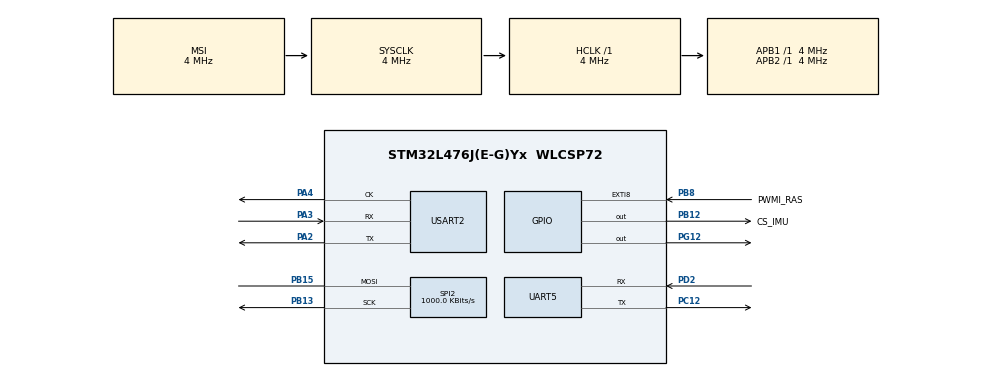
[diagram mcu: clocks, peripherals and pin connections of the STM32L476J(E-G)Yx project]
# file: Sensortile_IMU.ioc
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Mcu.Family=STM32L4
Mcu.Name=STM32L476J(E-G)Yx
Mcu.Package=WLCSP72
NVIC.EXTI9_5_IRQn=true\:0\:0\:false\:false\:true\:true\:true
NVIC.PriorityGroup=NVIC_PRIORITYGROUP_4
NVIC.UART5_IRQn=true\:0\:0\:true\:false\:true\:true\:true
PA2.Mode=Synchronous
PA2.Signal=USART2_TX
PA3.Mode=Synchronous
PA3.Signal=USART2_RX
PA4.Mode=Synchronous
PA4.Signal=USART2_CK
PB12.GPIO_Label=CS_IMU
PB12.GPIO_PuPd=GPIO_PULLDOWN
PB12.Signal=GPIO_Output
PB13.Mode=Simplex_Bidirectional_Master
PB13.Signal=SPI2_SCK
PB15.GPIO_PuPd=GPIO_NOPULL
PB15.Mode=Simplex_Bidirectional_Master
PB15.Signal=SPI2_MOSI
PB8.GPIO_Label=PWMI_RAS
PB8.GPIO_ModeDefaultEXTI=GPIO_MODE_IT_RISING
PB8.Signal=GPXTI8
PC12.Mode=Asynchronous
PC12.Signal=UART5_TX
PD2.Mode=Asynchronous
PD2.Signal=UART5_RX
PG12.Signal=GPIO_Output
ProjectManager.HeapSize=0x200
ProjectManager.StackSize=0x400
ProjectManager.TargetToolchain=STM32CubeIDE
RCC.AHBFreq_Value=4000000
RCC.APB1Freq_Value=4000000
RCC.APB1TimFreq_Value=4000000
RCC.APB2Freq_Value=4000000
RCC.APB2TimFreq_Value=4000000
RCC.CortexFreq_Value=4000000
RCC.HCLKFreq_Value=4000000
RCC.HSE_VALUE=8000000
RCC.HSI_VALUE=16000000
RCC.LSE_VALUE=32768
RCC.MSI_VALUE=4000000
RCC.SYSCLKFreq_VALUE=4000000
RCC.VCOOutputFreq_Value=32000000
SPI2.BaudRatePrescaler=SPI_BAUDRATEPRESCALER_4
SPI2.CLKPhase=SPI_PHASE_2EDGE
SPI2.CLKPolarity=SPI_POLARITY_HIGH
SPI2.CalculateBaudRate=1000.0 KBits/s
SPI2.DataSize=SPI_DATASIZE_8BIT
SPI2.Direction=SPI_DIRECTION_1LINE
SPI2.Mode=SPI_MODE_MASTER
SPI2.VirtualType=VM_MASTER
UART5.MSBFirstParam=UART_ADVFEATURE_MSBFIRST_DISABLE
USART2.VirtualMode-Synchronous=VM_SYNC
board=custom

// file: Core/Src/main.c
/* USER CODE BEGIN Header */
/**
  ******************************************************************************
  * @file           : main.c
  * @brief          : Main program body
  ******************************************************************************
  * @attention
  *
  * <h2><center>&copy; Copyright (c) 2021 STMicroelectronics.
  * All rights reserved.</center></h2>
  *
  * This software component is licensed by ST under BSD 3-Clause license,
  * the "License"; You may not use this file except in compliance with the
  * License. You may obtain a copy of the License at:
  *                        opensource.org/licenses/BSD-3-Clause
  *
  ******************************************************************************
  */
/* USER CODE END Header */
#include "main.h"

/* USER CODE BEGIN Includes */
#include <stdio.h>
/* USER CODE END Includes */

SPI_HandleTypeDef hspi2;

UART_HandleTypeDef huart5;
USART_HandleTypeDef husart2;

/* USER CODE BEGIN PV */

uint32_t Timeout=10000;
SPI_HandleTypeDef hspi2;
HAL_StatusTypeDef uart;
HAL_StatusTypeDef status_spi;
uint32_t TIMEOUT_DURATION=5000;
uint8_t flag=1;
uint8_t rxBuffer[7]={0};
uint8_t aTxBuffer[]="hello\r\n";
uint16_t i=0;
uint8_t SPI_ready=1;
int16_t accel_data_x[4096]={0};
int16_t accel_data_y[4096]={0};
int16_t accel_data_z[4096]={0};
uint32_t time[4096]={0};
static int16_t data_raw_acceleration[3];
float acc_x;
float acc_y;
float acc_z;
/* USER CODE END PV */

void SystemClock_Config(void);
static void MX_GPIO_Init(void);
static void MX_SPI2_Init(void);
static void MX_UART5_Init(void);
static void MX_USART2_Init(void);
/* USER CODE BEGIN PFP */
void lsm6dsm_init(void);
float lsm6dsm_from_fs2g_to_mg(int16_t lsb);
float lsm6dsm_from_fs4g_to_mg(int16_t lsb);
float lsm6dsm_from_fs8g_to_mg(int16_t lsb);
float lsm6dsm_from_fs16g_to_mg(int16_t lsb);
float lsm6dsm_from_fs500dps_to_mdps(int16_t lsb);
uint16_t lsm6dsm_read_accel(int16_t* accel_x,int16_t* accel_y,int16_t* accel_z);
int32_t lsm6dsm_acceleration_raw_get(int16_t *val);
static int32_t lsm6ds3_read(void *handle, uint8_t reg, uint8_t *bufp,uint16_t len);
static int32_t lsm6ds3_write(void *handle, uint8_t reg,uint8_t *bufp,uint16_t len);
void whoami(void);
static void Error_Handler_1(void);
uint8_t isKthBitSet(int n, int k);
uint8_t sftwRESET(void);
/* USER CODE END PFP */

int main(void)
{

  /* MCU Configuration--------------------------------------------------------*/

  /* Reset of all peripherals, Initializes the Flash interface and the Systick. */
  HAL_Init();

  /* Configure the system clock */
  SystemClock_Config();

  /* Initialize all configured peripherals */
  MX_GPIO_Init();
  MX_SPI2_Init();
  MX_UART5_Init();
  MX_USART2_Init();
  /* USER CODE BEGIN 2 */
	Error_Handler_1();

	HAL_GPIO_WritePin(GPIOB, GPIO_PIN_12, GPIO_PIN_SET);

	lsm6dsm_init(); // init IMU sensor LSM6DSM
	HAL_Delay(200);

	whoami(); // check if device can be found

	// set UART5 interrupt
	HAL_UART_Receive_IT(&huart5, rxBuffer, 7);

  /* USER CODE END 2 */

  /* Infinite loop */
  /* USER CODE BEGIN WHILE */
	HAL_GPIO_WritePin(GPIOG, GPIO_PIN_12, GPIO_PIN_SET); // Switch on LED
	i=0;

  while (1)
  {
	  // polling data
	  if(flag==1) // check external interrupt
	  {
		  		if(i<4096)
		  		{
		  			// read data from z acceleration
		  			lsm6dsm_acceleration_raw_get(data_raw_acceleration);
		  			acc_z=lsm6dsm_from_fs16g_to_mg(data_raw_acceleration[2]);
		  			accel_data_z[i]=(int16_t)acc_z;
		  			i++;
		  			flag=0; // set interrupt flag to 0 again

		  		}
		  		else{
		  			// begin accel_data_z vector new when overflow occurs
		  			i=0;
		  	}
	  }

    /* USER CODE END WHILE */

  }
}

void SystemClock_Config(void)
{
  RCC_OscInitTypeDef RCC_OscInitStruct = {0};
  RCC_ClkInitTypeDef RCC_ClkInitStruct = {0};

  /** Configure the main internal regulator output voltage
  */
  if (HAL_PWREx_ControlVoltageScaling(PWR_REGULATOR_VOLTAGE_SCALE1) != HAL_OK)
  {
    Error_Handler();
  }
  /** Initializes the RCC Oscillators according to the specified parameters
  * in the RCC_OscInitTypeDef structure.
  */
  RCC_OscInitStruct.OscillatorType = RCC_OSCILLATORTYPE_MSI;
  RCC_OscInitStruct.MSIState = RCC_MSI_ON;
  RCC_OscInitStruct.MSICalibrationValue = 0;
  RCC_OscInitStruct.MSIClockRange = RCC_MSIRANGE_6;
  RCC_OscInitStruct.PLL.PLLState = RCC_PLL_NONE;
  if (HAL_RCC_OscConfig(&RCC_OscInitStruct) != HAL_OK)
  {
    Error_Handler();
  }
  /** Initializes the CPU, AHB and APB buses clocks
  */
  RCC_ClkInitStruct.ClockType = RCC_CLOCKTYPE_HCLK|RCC_CLOCKTYPE_SYSCLK
                              |RCC_CLOCKTYPE_PCLK1|RCC_CLOCKTYPE_PCLK2;
  RCC_ClkInitStruct.SYSCLKSource = RCC_SYSCLKSOURCE_MSI;
  RCC_ClkInitStruct.AHBCLKDivider = RCC_SYSCLK_DIV1;
  RCC_ClkInitStruct.APB1CLKDivider = RCC_HCLK_DIV1;
  RCC_ClkInitStruct.APB2CLKDivider = RCC_HCLK_DIV1;

  if (HAL_RCC_ClockConfig(&RCC_ClkInitStruct, FLASH_LATENCY_0) != HAL_OK)
  {
    Error_Handler();
  }
}

static void MX_SPI2_Init(void)
{

  /* SPI2 parameter configuration*/
  hspi2.Instance = SPI2;
  hspi2.Init.Mode = SPI_MODE_MASTER;
  hspi2.Init.Direction = SPI_DIRECTION_1LINE;
  hspi2.Init.DataSize = SPI_DATASIZE_8BIT;
  hspi2.Init.CLKPolarity = SPI_POLARITY_HIGH;
  hspi2.Init.CLKPhase = SPI_PHASE_2EDGE;
  hspi2.Init.NSS = SPI_NSS_SOFT;
  hspi2.Init.BaudRatePrescaler = SPI_BAUDRATEPRESCALER_4;
  hspi2.Init.FirstBit = SPI_FIRSTBIT_MSB;
  hspi2.Init.TIMode = SPI_TIMODE_DISABLE;
  hspi2.Init.CRCCalculation = SPI_CRCCALCULATION_DISABLE;
  hspi2.Init.CRCPolynomial = 7;
  hspi2.Init.CRCLength = SPI_CRC_LENGTH_DATASIZE;
  hspi2.Init.NSSPMode = SPI_NSS_PULSE_DISABLE;
  if (HAL_SPI_Init(&hspi2) != HAL_OK)
  {
    Error_Handler();
  }

}

static void MX_UART5_Init(void)
{

  huart5.Instance = UART5;
  huart5.Init.BaudRate = 115200;
  huart5.Init.WordLength = UART_WORDLENGTH_8B;
  huart5.Init.StopBits = UART_STOPBITS_1;
  huart5.Init.Parity = UART_PARITY_NONE;
  huart5.Init.Mode = UART_MODE_TX_RX;
  huart5.Init.HwFlowCtl = UART_HWCONTROL_NONE;
  huart5.Init.OverSampling = UART_OVERSAMPLING_16;
  huart5.Init.OneBitSampling = UART_ONE_BIT_SAMPLE_DISABLE;
  huart5.AdvancedInit.AdvFeatureInit = UART_ADVFEATURE_NO_INIT;
  if (HAL_UART_Init(&huart5) != HAL_OK)
  {
    Error_Handler();
  }

}

static void MX_USART2_Init(void)
{

  husart2.Instance = USART2;
  husart2.Init.BaudRate = 115200;
  husart2.Init.WordLength = USART_WORDLENGTH_8B;
  husart2.Init.StopBits = USART_STOPBITS_1;
  husart2.Init.Parity = USART_PARITY_NONE;
  husart2.Init.Mode = USART_MODE_TX_RX;
  husart2.Init.CLKPolarity = USART_POLARITY_LOW;
  husart2.Init.CLKPhase = USART_PHASE_1EDGE;
  husart2.Init.CLKLastBit = USART_LASTBIT_DISABLE;
  if (HAL_USART_Init(&husart2) != HAL_OK)
  {
    Error_Handler();
  }

}

static void MX_GPIO_Init(void)
{
  GPIO_InitTypeDef GPIO_InitStruct = {0};

  /* GPIO Ports Clock Enable */
  __HAL_RCC_GPIOD_CLK_ENABLE();
  __HAL_RCC_GPIOC_CLK_ENABLE();
  __HAL_RCC_GPIOG_CLK_ENABLE();
  HAL_PWREx_EnableVddIO2();
  __HAL_RCC_GPIOB_CLK_ENABLE();
  __HAL_RCC_GPIOA_CLK_ENABLE();

  /*Configure GPIO pin Output Level */
  HAL_GPIO_WritePin(GPIOG, GPIO_PIN_12, GPIO_PIN_RESET);

  /*Configure GPIO pin Output Level */
  HAL_GPIO_WritePin(CS_IMU_GPIO_Port, CS_IMU_Pin, GPIO_PIN_RESET);

  /*Configure GPIO pin : PG12 */
  GPIO_InitStruct.Pin = GPIO_PIN_12;
  GPIO_InitStruct.Mode = GPIO_MODE_OUTPUT_PP;
  GPIO_InitStruct.Pull = GPIO_NOPULL;
  GPIO_InitStruct.Speed = GPIO_SPEED_FREQ_LOW;
  HAL_GPIO_Init(GPIOG, &GPIO_InitStruct);

  /*Configure GPIO pin : PWMI_RAS_Pin */
  GPIO_InitStruct.Pin = PWMI_RAS_Pin;
  GPIO_InitStruct.Mode = GPIO_MODE_IT_RISING;
  GPIO_InitStruct.Pull = GPIO_NOPULL;
  HAL_GPIO_Init(PWMI_RAS_GPIO_Port, &GPIO_InitStruct);

  /*Configure GPIO pin : CS_IMU_Pin */
  GPIO_InitStruct.Pin = CS_IMU_Pin;
  GPIO_InitStruct.Mode = GPIO_MODE_OUTPUT_PP;
  GPIO_InitStruct.Pull = GPIO_PULLDOWN;
  GPIO_InitStruct.Speed = GPIO_SPEED_FREQ_LOW;
  HAL_GPIO_Init(CS_IMU_GPIO_Port, &GPIO_InitStruct);

  /* EXTI interrupt init*/
  HAL_NVIC_SetPriority(EXTI9_5_IRQn, 0, 0);
  HAL_NVIC_EnableIRQ(EXTI9_5_IRQn);

}

/* USER CODE BEGIN 4 */
uint8_t sftwRESET(void)
{
	// softwarereset of IMU
	uint32_t len =1;
	uint8_t bufp;
	uint8_t read_reg;
	// LSM6DS3H_REG_CTRL3_C
	// set 3-wire SPI mode
	// set block data update
	bufp=0b11111110;
	uint8_t reg=LSM6DS3H_REG_CTRL3_C;
	lsm6ds3_read(&hspi2, reg, &read_reg, len);
	bufp&=read_reg;
	lsm6ds3_write(&hspi2,reg, &bufp, len);
	return 0;
}

void whoami(void)
{
	// adr_WHO_AM_I has to be 0x6a check if sensor is available
	uint8_t who_am_i=0x00;
	uint8_t who_am_i_reg=0x0f;

	lsm6ds3_read(&hspi2, who_am_i_reg, &who_am_i, 1);

	if(who_am_i!=0x6a)
	{
		// error when jumping in here
		// device not found!!!
		// possible problems can be wrong DEBUG port is used
		while(1)
		{
			lsm6ds3_read(&hspi2, who_am_i_reg, &who_am_i, 1);
			if(who_am_i==0x6a){break;}
		}
	}
}

void HAL_UART_RxCpltCallback(UART_HandleTypeDef *huart)
{
	// callback is called when master sends request for data
	// __NOP(); // used to debug the Callback
	int 	size;
	char 	data_s[256];
	uint16_t length_data_array=4096;

	for(int j=0; j<length_data_array;j++)
	{
		size=sprintf(data_s, "%05d\n",accel_data_z[j]);
		HAL_UART_Transmit(&huart5,(uint8_t *)data_s, size, Timeout);
	}
	i=0;
	HAL_UART_Receive_IT(&huart5, rxBuffer, 7);
}

static void Error_Handler_1(void)
{
	// use error handler if error occurs
	HAL_GPIO_WritePin(GPIOG, GPIO_PIN_12, GPIO_PIN_SET);
	HAL_Delay(400);
	HAL_GPIO_WritePin(GPIOG, GPIO_PIN_12, GPIO_PIN_RESET);
	HAL_Delay(400);
	HAL_GPIO_WritePin(GPIOG, GPIO_PIN_12, GPIO_PIN_SET);
	HAL_Delay(400);
	HAL_GPIO_WritePin(GPIOG, GPIO_PIN_12, GPIO_PIN_RESET);
	HAL_Delay(400);
	HAL_GPIO_WritePin(GPIOG, GPIO_PIN_12, GPIO_PIN_SET);
	HAL_Delay(400);
	HAL_GPIO_WritePin(GPIOG, GPIO_PIN_12, GPIO_PIN_RESET);
}

void lsm6dsm_init(void)
{
	// init of IMU LSM6DSM
	uint32_t len =1;
	uint8_t bufp;
	// LSM6DS3H_REG_CTRL3_C
	// set 3-wire SPI mode
	// set block data update
	bufp=BDU|SIM|IF_INC; //0b01001100;
	uint8_t reg=LSM6DS3H_REG_CTRL3_C;
	lsm6ds3_write(&hspi2,reg, &bufp, len);

	// LSM6DS3H_REG_CTRL1_XL
	// Values for acceleration
	// ODR_XL set to 6.66kHz
	// FS of accelerometer set to +- 4g
	// BW0_XL BW set to 400Hz
	bufp=ODR_6660Hz|FS_16g; // 0b10101000;
	reg=LSM6DS3H_REG_CTRL1_XL;
	lsm6ds3_write(&hspi2, reg, &bufp, len);

	// disable latched mode
	bufp=DRDY_LATCHED;
	reg=LSM6DS3H_REG_DRDY_PULSE_CFG;
	lsm6ds3_write(&hspi2, reg, &bufp, len);

}

float lsm6dsm_from_fs2g_to_mg(int16_t lsb)
{
  return ((float)lsb * 0.061f);
}

float lsm6dsm_from_fs4g_to_mg(int16_t lsb)
{
  return ((float)lsb * 0.122f);
}

float lsm6dsm_from_fs8g_to_mg(int16_t lsb)
{
  return ((float)lsb * 0.244f);
}

float lsm6dsm_from_fs16g_to_mg(int16_t lsb)
{
  return ((float)lsb * 0.488f);
}

float lsm6dsm_from_fs500dps_to_mdps(int16_t lsb)
{
  return ((float)lsb * 17.50f);
}

uint8_t isKthBitSet(int n, int k)
{
    if (n & (1 << (k - 1)))
        {return 1;}
    else
        {return 0;}
}

int32_t lsm6dsm_acceleration_raw_get(int16_t *val)
{
	// read acceleration from IMU registers
  uint8_t buff[6];
  int32_t ret;

  lsm6ds3_read(&hspi2, LSM6DS3H_REG_OUTX_L_XL, &buff, 6);
  val[0] = (int16_t)buff[1];
  val[0] = (val[0] * 256) + (int16_t)buff[0];
  val[1] = (int16_t)buff[3];
  val[1] = (val[1] * 256) + (int16_t)buff[2];
  val[2] = (int16_t)buff[5];
  val[2] = (val[2] * 256) + (int16_t)buff[4];

  return ret;
}

static int32_t lsm6ds3_read(void *handle, uint8_t reg, uint8_t *bufp,uint16_t len)
{
	// read function for LSM6DSM sensor (SPI 3-wire mode)
	reg |= 0x80; // set MSB to one for read operation
	HAL_GPIO_WritePin(GPIOB, GPIO_PIN_12, GPIO_PIN_RESET);
	status_spi=HAL_SPI_Transmit(handle, &reg, 1, TIMEOUT_DURATION);
	status_spi=HAL_SPI_Receive(handle, bufp, len, TIMEOUT_DURATION);
	HAL_GPIO_WritePin(GPIOB, GPIO_PIN_12, GPIO_PIN_SET);
	while(status_spi!=HAL_OK)
	{
		// spi communication isnt finished or something failed
		return -1;
	}
  return 0;
}

static int32_t lsm6ds3_write(void *handle, uint8_t reg,uint8_t *bufp,uint16_t len)
{
	// write function for LSM6DSM sensor (SPI 3-wire mode)
	reg |= 0x00;
	HAL_GPIO_WritePin(GPIOB, GPIO_PIN_12, GPIO_PIN_RESET);
	status_spi=HAL_SPI_Transmit(handle, &reg, 1, TIMEOUT_DURATION);
	status_spi=HAL_SPI_Transmit(handle, bufp, len, TIMEOUT_DURATION);
	HAL_GPIO_WritePin(GPIOB, GPIO_PIN_12, GPIO_PIN_SET);

  return 0;
}

void HAL_GPIO_EXTI_Callback(uint16_t GPIO_Pin)
{
	// sets flag to one if external interrupt (PWM) occurs
	flag=1;
}

/* USER CODE END 4 */

void Error_Handler(void)
{
  __disable_irq();
  while (1)
  {
  }
}

/************************ (C) COPYRIGHT STMicroelectronics *****END OF FILE****/
